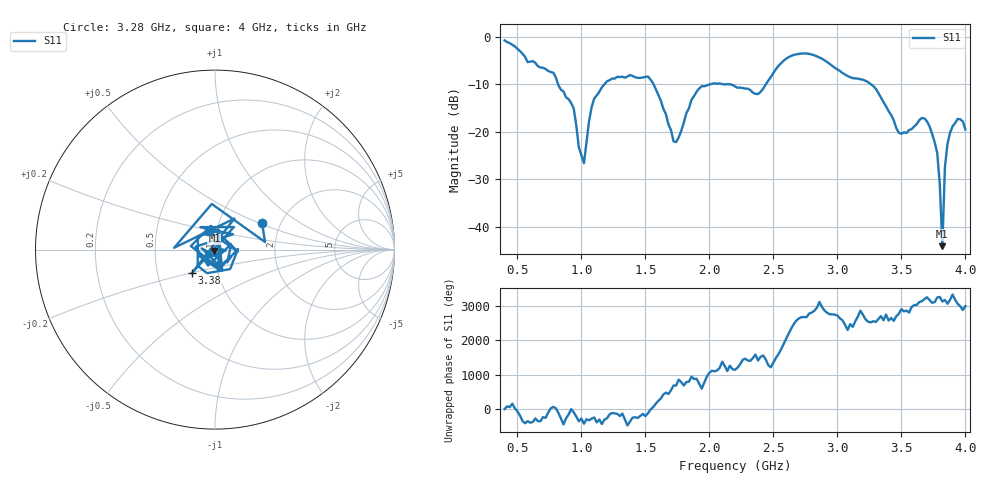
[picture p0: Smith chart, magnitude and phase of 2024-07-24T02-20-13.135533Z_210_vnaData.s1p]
!Created with skrf (http://scikit-rf.org).
# Hz S RI R 50.0
!freq ReS11 ImS11
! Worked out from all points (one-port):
!   181 points, 400 MHz to 4 GHz, reference 50 ohm
!   lowest |S11| = -44.1 dB at 3.82 GHz (marker M1), VSWR 1.01, Z = 49.7 - j0.536 ohm
!   |S11| at or under -10 dB: 817.3 MHz to 1.182 GHz (364.6 MHz wide, 36.5 % of centre); 1.563 GHz to 2.015 GHz (452.1 MHz wide, 25.3 % of centre); 3.259 GHz to end of sweep (the widest 3 of 4)
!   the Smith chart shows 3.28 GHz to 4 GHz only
!   S11 on the Smith chart (normalised r, x): 3.28 GHz: 1.60, +0.53; 3.38 GHz: 0.75, -0.20; 4 GHz: 0.92, +0.19
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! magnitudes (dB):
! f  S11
! 400 MHz  -0.8
! 860 MHz  -11.6
! 940 MHz  -15.1
! 980 MHz  -23.3
! 1.02 GHz  -26.7
! 1.1 GHz  -13.0
! 1.3 GHz  -8.5
! 1.52 GHz  -8.4
! 1.72 GHz  -22.1
! 1.76 GHz  -21.2
! 1.92 GHz  -10.9
! 2.2 GHz  -10.5
! 2.38 GHz  -12.1
! 2.66 GHz  -3.9
! 3.1 GHz  -8.6
! 3.28 GHz  -10.4
! 3.38 GHz  -14.7
! 3.48 GHz  -20.2
! 3.56 GHz  -19.7
! 3.68 GHz  -17.2
! 3.76 GHz  -22.3
! 3.78 GHz  -24.5
! 3.8 GHz  -31.1
! 3.82 GHz  -44.1
! 3.84 GHz  -27.5
! 3.86 GHz  -22.6
! 3.94 GHz  -17.3
! 4 GHz  -19.6
